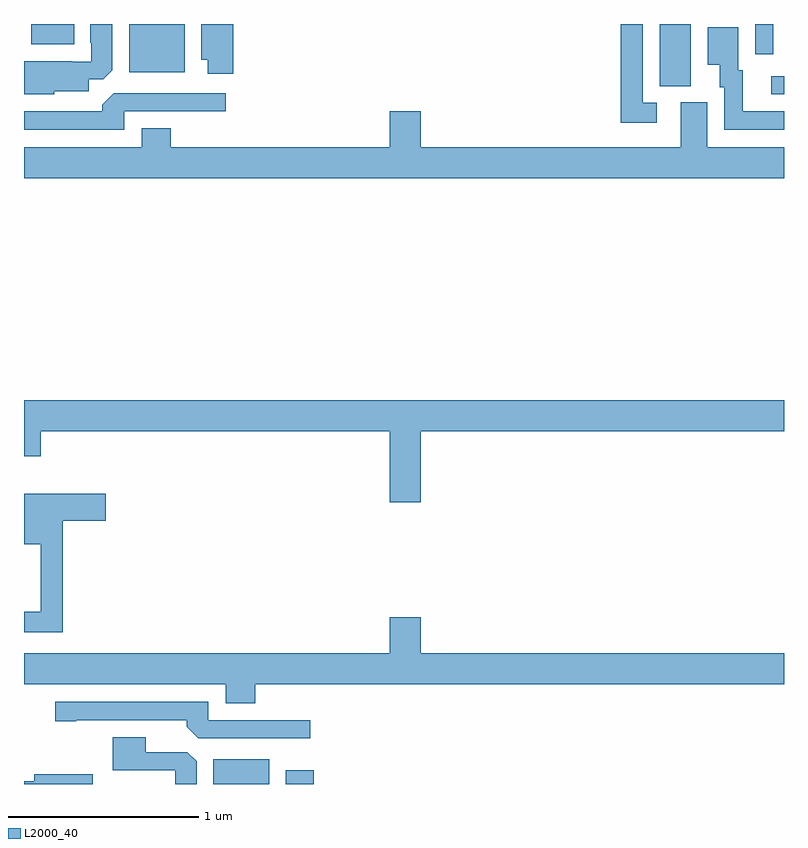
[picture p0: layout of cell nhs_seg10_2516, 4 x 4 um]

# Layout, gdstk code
import gdstk
lib = gdstk.Library(unit=1e-6, precision=1e-09)
def R(c, l, rs):  # rectangles x0, y0, x1, y1
    for r in rs: c.add(gdstk.rectangle(r[:2], r[2:], *l))
def P(c, l, *ps):  # polygons
    for p in ps: c.add(gdstk.Polygon(p, *l))
L2000_40 = (2000, 40)

nhs_seg10_2516 = lib.new_cell('nhs_seg10_2516')
R(nhs_seg10_2516, L2000_40, [(247.997,1258.5,248.29,1258.63), (248.378,1258.5,248.525,1258.573), (250.932,1262.13,251,1262.226), (250.346,1262.173,250.51,1262.5), (247.553,1262.246,247.846,1262.5), (250.848,1262.34,250.944,1262.5), (247.037,1262.393,247.264,1262.5)])
P(nhs_seg10_2516, L2000_40, [(248.102,1262.5),(247.934,1262.5),(247.934,1262.312),(247.967,1262.312),(247.967,1262.238),(248.102,1262.238)],
  [(250.33,1262.085),(250.257,1262.085),(250.257,1262.5),(250.141,1262.5),(250.141,1261.98),(250.33,1261.98)],
  [(247.158,1262.147),(247.342,1262.147),(247.342,1262.208),(247.416,1262.208),(247.465,1262.257),(247.465,1262.5),(247.349,1262.5),(247.349,1262.401),(247.353,1262.401),(247.353,1262.301),(247.253,1262.301),(247.253,1262.305),(247,1262.305),(247,1262.129),(247.158,1262.129)],
  [(251,1262.04),(250.783,1262.04),(250.783,1262.256),(250.759,1262.256),(250.759,1262.482),(250.598,1262.482),(250.598,1262.285),(250.661,1262.285),(250.661,1262.166),(250.686,1262.166),(250.686,1261.944),(251,1261.944)],
  [(247.527,1262.04),(248.062,1262.04),(248.062,1262.136),(247.473,1262.136),(247.412,1262.074),(247.412,1262.04),(247,1262.04),(247,1261.944),(247.527,1261.944)],
  [(251,1261.852),(250.597,1261.852),(250.597,1262.088),(250.457,1262.088),(250.457,1261.852),(249.088,1261.852),(249.088,1262.041),(248.924,1262.041),(248.924,1261.852),(247.772,1261.852),(247.772,1261.951),(247.619,1261.951),(247.619,1261.852),(247,1261.852),(247,1261.688),(251,1261.688)],
  [(249.088,1260.356),(251,1260.356),(251,1260.52),(247,1260.52),(247,1260.225),(247.088,1260.225),(247.088,1260.356),(248.924,1260.356),(248.924,1259.982),(249.088,1259.982)],
  [(247.205,1259.885),(247.429,1259.885),(247.429,1260.027),(247,1260.027),(247,1259.762),(247.088,1259.762),(247.088,1259.407),(247,1259.407),(247,1259.298),(247.205,1259.298)],
  [(248.216,1259.024),(251,1259.024),(251,1259.188),(249.088,1259.188),(249.088,1259.377),(248.924,1259.377),(248.924,1259.188),(247,1259.188),(247,1259.024),(248.063,1259.024),(248.063,1258.925),(248.216,1258.925)],
  [(248.506,1258.836),(247.971,1258.836),(247.971,1258.932),(247.164,1258.932),(247.164,1258.831),(247.276,1258.831),(247.276,1258.836),(247.856,1258.836),(247.856,1258.802),(247.917,1258.74),(248.506,1258.74)],
  [(247.909,1258.619),(247.86,1258.668),(247.642,1258.668),(247.642,1258.747),(247.466,1258.747),(247.466,1258.572),(247.797,1258.572),(247.797,1258.5),(247.909,1258.5)],
  [(247.363,1258.552),(247.055,1258.552),(247.055,1258.514),(247,1258.514),(247,1258.5),(247.363,1258.5)])

lib.write_gds('nhs_seg10_2516.gds')
